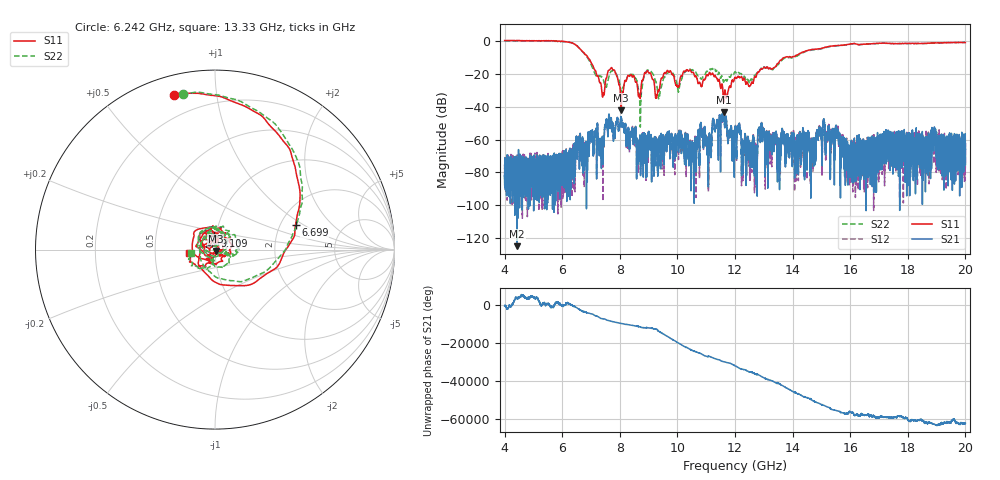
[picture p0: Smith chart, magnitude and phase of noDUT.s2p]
[Version] 2.0
! Rohde & Schwarz Vector Network Analyzer
! Rohde-Schwarz,ZNL20-2Port,1323001220200009,1.71.1.10-23.02.1.238
! Port Assignments:
! Nominal Port -> Actual Test Port
!  1 -> 1
!  2 -> 2
! Created: GMT+2 2025-01-17 12:15:12
# Hz S RI R 50
[Number of Ports] 2
[Two-Port Data Order] 21_12
! freq[Hz]  S11[Re]  S11[Im]  S21[Re]  S21[Im]  S12[Re]  S12[Im]  S22[Re]  S22[Im]
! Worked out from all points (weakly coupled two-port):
!   16001 points, 4 GHz to 20 GHz, reference 50 ohm
!   highest |S21| = -43.39 dB at 11.6 GHz (marker M1); lowest = -124.7 dB at 4.436 GHz (marker M2)
!   lowest |S11| = -42.3 dB at 8.046 GHz (marker M3), VSWR 1.02, Z = 50.3 - j0.713 ohm
!   |S11| at or under -10 dB: 6.882 GHz to 13.76 GHz (6.877 GHz wide, 66.6 % of centre); 13.93455 GHz to 13.96835 GHz (33.8 MHz wide, 0.242 % of centre)
!   |S22| runs from -52.5 to 0.0 dB; largest |S21 - S12| = 0.0026
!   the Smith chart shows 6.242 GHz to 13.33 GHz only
!   S11 on the Smith chart (normalised r, x): 6.242 GHz: 0.09, +0.77; 6.699 GHz: 2.42, +0.85; 9.109 GHz: 0.98, +0.15; 13.33 GHz: 0.75, -0.03
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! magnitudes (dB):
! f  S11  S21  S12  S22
! 4 GHz  0.0  -83.7  -82.9  -0.2
! 4.436 GHz  0.0  -124.7  -77.3  -0.1
! 6.242 GHz  -1.0  -67.7  -74.2  -1.1
! 6.667 GHz  -6.0  -65.2  -63.0  -6.0
! 6.699 GHz  -6.6  -60.5  -61.8  -6.6
! 7.398 GHz  -34.2  -60.7  -61.6  -22.6
! 7.735 GHz  -16.9  -53.6  -53.8  -18.4
! 8.046 GHz  -42.3  -46.6  -46.4  -30.6
! 8.439 GHz  -22.0  -53.7  -52.1  -20.6
! 8.709 GHz  -34.7  -60.9  -61.8  -50.1
! 9.109 GHz  -22.2  -73.1  -79.1  -19.3
! 9.334 GHz  -30.7  -63.3  -61.7  -33.8
! 9.611 GHz  -19.4  -59.7  -60.4  -20.4
! 11.1 GHz  -19.8  -57.5  -57.4  -17.3
! 11.6 GHz  -37.3  -43.4  -43.4  -25.1
! 12 GHz  -22.3  -55.2  -53.8  -18.9
! 13.33 GHz  -16.7  -59.0  -60.0  -17.3
! 14.67 GHz  -5.4  -61.5  -60.6  -5.7
! 15.12 GHz  -4.1  -51.5  -53.3  -4.4
! 15.93 GHz  -2.3  -79.3  -78.7  -2.4
! 17.33 GHz  -1.7  -66.7  -57.9  -1.7
! 20 GHz  -1.2  -64.5  -66.2  -1.1
